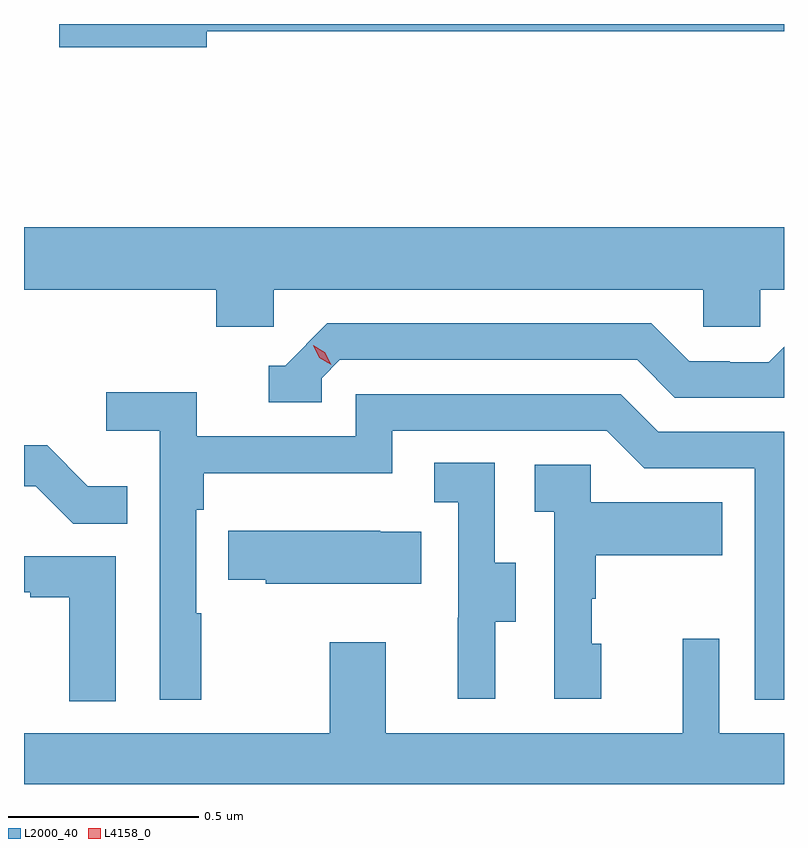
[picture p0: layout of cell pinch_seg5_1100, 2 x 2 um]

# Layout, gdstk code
import gdstk
lib = gdstk.Library(unit=1e-6, precision=1e-09)
def P(c, l, *ps):  # polygons
    for p in ps: c.add(gdstk.Polygon(p, *l))
L2000_40 = (2000, 40)
L4158_0 = (4158, 0)

pinch_seg5_1100 = lib.new_cell('pinch_seg5_1100')
P(pinch_seg5_1100, L2000_40, [(825.73,866.764),(827.249,866.764),(827.249,866.783),(825.342,866.783),(825.342,866.722),(825.73,866.722)],
  [(825.906,866.084),(827.037,866.084),(827.037,865.986),(827.187,865.986),(827.187,866.084),(827.249,866.084),(827.249,866.248),(825.249,866.248),(825.249,866.084),(825.755,866.084),(825.755,865.986),(825.906,865.986)],
  [(826.032,865.851),(826.08,865.899),(826.863,865.899),(826.962,865.8),(827.249,865.8),(827.249,865.934),(827.209,865.893),(827.106,865.893),(827.106,865.896),(826.999,865.896),(826.9,865.995),(826.047,865.995),(825.936,865.884),(825.893,865.884),(825.893,865.788),(826.032,865.788)],
  [(825.715,865.232),(825.702,865.232),(825.702,865.505),(825.722,865.505),(825.722,865.601),(826.218,865.601),(826.218,865.713),(826.782,865.713),(826.881,865.614),(827.172,865.614),(827.172,865.005),(827.249,865.005),(827.249,865.71),(826.918,865.71),(826.819,865.809),(826.122,865.809),(826.122,865.698),(825.704,865.698),(825.704,865.814),(825.465,865.814),(825.465,865.712),(825.606,865.712),(825.606,865.005),(825.715,865.005)],
  [(825.521,865.567),(825.417,865.567),(825.31,865.674),(825.249,865.674),(825.249,865.566),(825.28,865.566),(825.378,865.468),(825.521,865.468)],
  [(826.489,865.21),(826.543,865.21),(826.543,865.365),(826.488,865.365),(826.488,865.628),(826.329,865.628),(826.329,865.525),(826.392,865.525),(826.392,865.221),(826.391,865.221),(826.391,865.008),(826.489,865.008)],
  [(826.768,865.152),(826.743,865.152),(826.743,865.271),(826.753,865.271),(826.753,865.385),(827.087,865.385),(827.087,865.525),(826.74,865.525),(826.74,865.623),(826.593,865.623),(826.593,865.499),(826.644,865.499),(826.644,865.008),(826.768,865.008)],
  [(826.295,865.447),(826.187,865.447),(826.187,865.45),(825.787,865.45),(825.787,865.321),(825.885,865.321),(825.885,865.31),(826.295,865.31)],
  [(825.49,865.383),(825.249,865.383),(825.249,865.287),(825.265,865.287),(825.265,865.275),(825.368,865.275),(825.368,865.001),(825.49,865.001)],
  [(827.249,864.916),(827.079,864.916),(827.079,865.165),(826.982,865.165),(826.982,864.916),(826.201,864.916),(826.201,865.156),(826.054,865.156),(826.054,864.916),(825.249,864.916),(825.249,864.783),(827.249,864.783)])
P(pinch_seg5_1100, L4158_0, [(826.057,865.886),(826.026,865.905),(826.01,865.938),(826.01,865.938),(826.01,865.938),(826.041,865.919),(826.057,865.886),(826.057,865.886)])

lib.write_gds('pinch_seg5_1100.gds')
